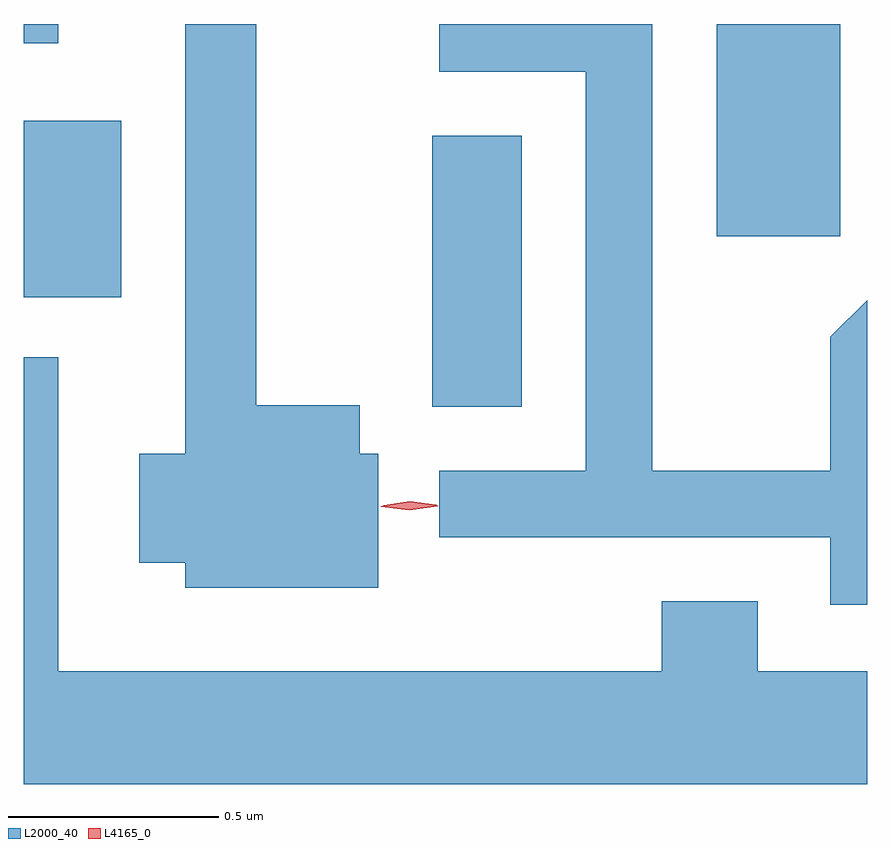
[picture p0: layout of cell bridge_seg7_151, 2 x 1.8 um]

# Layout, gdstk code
import gdstk
lib = gdstk.Library(unit=1e-6, precision=1e-09)
def R(c, l, rs):  # rectangles x0, y0, x1, y1
    for r in rs: c.add(gdstk.rectangle(r[:2], r[2:], *l))
def P(c, l, *ps):  # polygons
    for p in ps: c.add(gdstk.Polygon(p, *l))
L2000_40 = (2000, 40)
L4165_0 = (4165, 0)

bridge_seg7_151 = lib.new_cell('bridge_seg7_151')
R(bridge_seg7_151, L2000_40, [(1635.356,1719.651,1635.569,1720.294), (1634.388,1719.911,1634.619,1720.329), (1636.031,1720.056,1636.324,1720.559), (1634.388,1720.513,1634.469,1720.559)])
P(bridge_seg7_151, L2000_40, [(1635.229,1719.539),(1635.184,1719.539),(1635.184,1719.654),(1634.939,1719.654),(1634.939,1720.559),(1634.771,1720.559),(1634.771,1719.539),(1634.661,1719.539),(1634.661,1719.281),(1634.771,1719.281),(1634.771,1719.221),(1635.229,1719.221)],
  [(1636.388,1719.904),(1636.301,1719.817),(1636.301,1719.499),(1635.879,1719.499),(1635.879,1720.559),(1635.373,1720.559),(1635.373,1720.446),(1635.721,1720.446),(1635.721,1719.499),(1635.373,1719.499),(1635.373,1719.341),(1636.301,1719.341),(1636.301,1719.181),(1636.388,1719.181)],
  [(1636.388,1719.024),(1636.129,1719.024),(1636.129,1719.189),(1635.901,1719.189),(1635.901,1719.024),(1634.469,1719.024),(1634.469,1719.768),(1634.388,1719.768),(1634.388,1718.756),(1636.388,1718.756)])
P(bridge_seg7_151, L4165_0, [(1635.302,1719.405),(1635.235,1719.414),(1635.234,1719.414),(1635.235,1719.415),(1635.302,1719.425),(1635.37,1719.416),(1635.37,1719.415),(1635.37,1719.415)],
  [(1635.303,1719.407),(1635.241,1719.416),(1635.24,1719.416),(1635.241,1719.417),(1635.303,1719.427),(1635.366,1719.418),(1635.367,1719.418),(1635.366,1719.417)])

lib.write_gds('bridge_seg7_151.gds')
